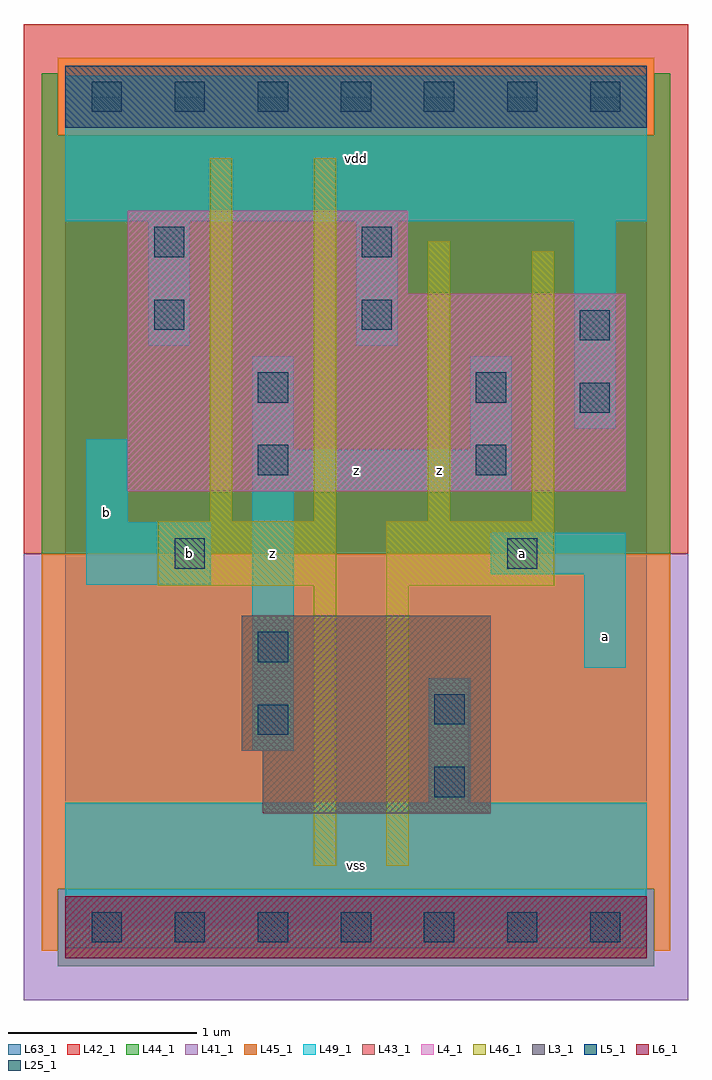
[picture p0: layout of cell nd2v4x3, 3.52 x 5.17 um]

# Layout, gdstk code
import gdstk
lib = gdstk.Library(unit=1e-6, precision=1e-09)
def R(c, l, rs):  # rectangles x0, y0, x1, y1
    for r in rs: c.add(gdstk.rectangle(r[:2], r[2:], *l))
def A(c, l, x, y, w, h, nx, ny, dx, dy):  # array of equal rectangles
    R(c, l, [(x+i*dx, y+j*dy, x+i*dx+w, y+j*dy+h) for i in range(nx) for j in range(ny)])
L3_1 = (3, 1)
L4_1 = (4, 1)
L5_1 = (5, 1)
L6_1 = (6, 1)
L25_1 = (25, 1)
L41_1 = (41, 1)
L42_1 = (42, 1)
L43_1 = (43, 1)
L44_1 = (44, 1)
L45_1 = (45, 1)
L46_1 = (46, 1)
L49_1 = (49, 1)
L63_1 = (63, 1)

nd2v4x3 = lib.new_cell('nd2v4x3')
R(nd2v4x3, L3_1, [(1.045,0.605,2.255,0.935), (0.935,0.935,2.255,1.65)])
R(nd2v4x3, L4_1, [(0.33,2.31,2.97,3.355), (0.33,3.355,1.815,3.795)])
R(nd2v4x3, L5_1, [(0,4.235,3.08,4.565)])
R(nd2v4x3, L6_1, [(0,-0.165,3.08,0.165)])
A(nd2v4x3, L25_1, 0.14, -0.08, 0.16, 0.16, 7, 2, 0.44, 4.4)
R(nd2v4x3, L25_1, [(1.955,0.69,2.115,0.85), (1.02,1.02,1.18,1.18), (1.955,1.075,2.115,1.235), (1.02,1.405,1.18,1.565), (0.58,1.9,0.74,2.06), (2.34,1.9,2.5,2.06), (1.02,2.395,1.18,2.555), (2.175,2.395,2.335,2.555), (2.725,2.725,2.885,2.885), (1.02,2.78,1.18,2.94), (2.175,2.78,2.335,2.94), (2.725,3.11,2.885,3.27), (0.47,3.165,0.63,3.325), (1.57,3.165,1.73,3.325), (0.47,3.55,0.63,3.71), (1.57,3.55,1.73,3.71)])
R(nd2v4x3, L41_1, [(-0.22,-0.385,3.3,1.98)])
R(nd2v4x3, L42_1, [(-0.22,1.98,3.3,4.785)])
R(nd2v4x3, L43_1, [(0,-0.165,3.08,0.165), (1.045,0.605,2.255,0.935), (0.935,0.935,2.255,1.65), (0.33,2.31,2.97,3.355), (0.33,3.355,1.815,3.795), (0,4.235,3.08,4.565)])
R(nd2v4x3, L44_1, [(-0.04,-0.205,3.12,0.205), (-0.125,1.98,3.205,4.195), (-0.125,4.195,-0.04,4.525), (3.12,4.195,3.205,4.525)])
R(nd2v4x3, L45_1, [(-0.125,-0.125,-0.04,0.205), (3.12,-0.125,3.205,0.205), (-0.125,0.205,3.205,1.98), (-0.04,4.195,3.12,4.605)])
R(nd2v4x3, L46_1, [(1.315,0.325,1.435,1.81), (1.7,0.325,1.82,1.81), (0.49,1.81,1.435,2.15), (1.7,1.81,2.59,2.15), (0.765,2.15,0.885,4.075), (1.315,2.15,1.435,4.075), (1.92,2.15,2.04,3.635), (2.47,2.15,2.59,3.58)])
R(nd2v4x3, L49_1, [(0,-0.11,3.08,0.66), (1.925,0.66,2.145,1.32), (0.99,0.935,1.21,2.31), (2.75,1.375,2.97,1.87), (0.11,1.815,0.77,2.145), (2.255,1.87,2.97,2.09), (0.11,2.145,0.33,2.585), (0.99,2.31,2.365,2.53), (0.99,2.53,1.21,3.025), (2.145,2.53,2.365,3.025), (2.695,2.64,2.915,3.74), (0.44,3.08,0.66,3.74), (1.54,3.08,1.76,3.74), (0,3.74,3.08,4.51)])
R(nd2v4x3, L63_1, [(0,0,3.08,4.4)])
nd2v4x3.add(gdstk.Label('b', (0.22,2.2), layer=49, texttype=1))
nd2v4x3.add(gdstk.Label('b', (0.66,1.98), layer=49, texttype=1))
nd2v4x3.add(gdstk.Label('z', (1.1,1.98), layer=49, texttype=1))
nd2v4x3.add(gdstk.Label('vss', (1.54,0.33), layer=49, texttype=1))
nd2v4x3.add(gdstk.Label('z', (1.98,2.42), layer=49, texttype=1))
nd2v4x3.add(gdstk.Label('z', (1.54,2.42), layer=49, texttype=1))
nd2v4x3.add(gdstk.Label('vdd', (1.54,4.07), layer=49, texttype=1))
nd2v4x3.add(gdstk.Label('a', (2.42,1.98), layer=49, texttype=1))
nd2v4x3.add(gdstk.Label('a', (2.86,1.54), layer=49, texttype=1))

lib.write_gds('nd2v4x3.gds')
